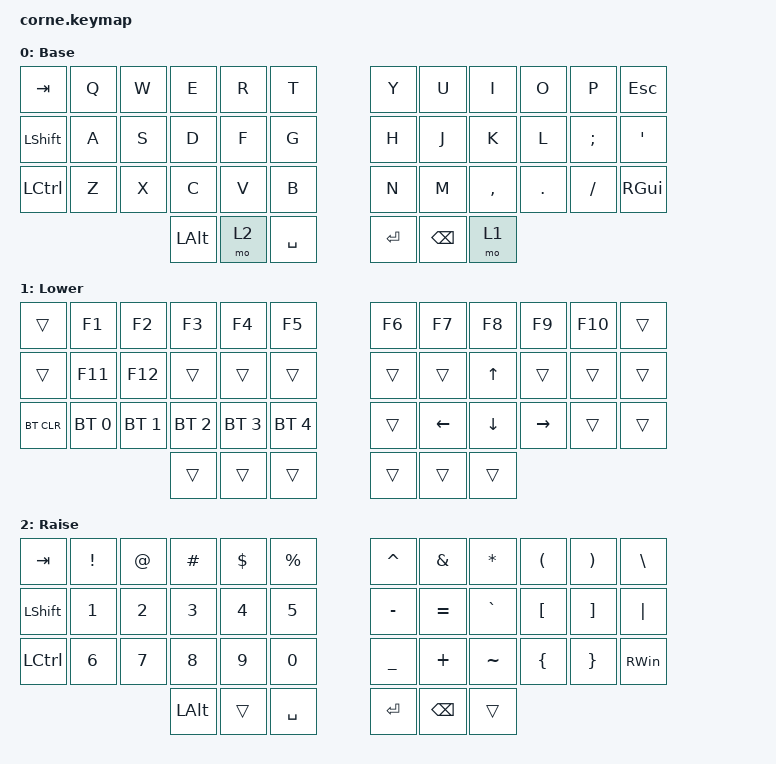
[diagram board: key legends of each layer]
/*
 * Copyright (c) 2020 The ZMK Contributors
 *
 * SPDX-License-Identifier: MIT
 */

#include <behaviors.dtsi>
#include <dt-bindings/zmk/bt.h>
#include <dt-bindings/zmk/keys.h>

/ {
    keymap {
        compatible = "zmk,keymap";

        default_layer {
            // -----------------------------------------------------------------------------------------
            // |  TAB |  Q  |  W  |  E  |  R  |  T  |   |  Y  |  U   |  I  |  O  |  P  | RGUI |
            // | SHFT |  A  |  S  |  D  |  F  |  G  |   |  H  |  J   |  K  |  L  |  ;  |  '   |
            // | CTRL |  Z  |  X  |  C  |  V  |  B  |   |  N  |  M   |  ,  |  .  |  /  | ESC  |
            //                    | ALT | LWR | SPC |   | BKSP | RSE  | ENT |

            display-name = "Base";
            bindings = <
&kp TAB    &kp Q  &kp W  &kp E     &kp R  &kp T        &kp Y      &kp U          &kp I      &kp O    &kp P     &kp ESC
&kp LSHFT  &kp A  &kp S  &kp D     &kp F  &kp G        &kp H      &kp J          &kp K      &kp L    &kp SEMI  &kp SQT
&kp LCTRL  &kp Z  &kp X  &kp C     &kp V  &kp B        &kp N      &kp M          &kp COMMA  &kp DOT  &kp FSLH  &kp RIGHT_GUI
                         &kp LALT  &mo 2  &kp SPACE    &kp ENTER  &kp BACKSPACE  &mo 1
            >;
        };

        lower_layer {
            // -----------------------------------------------------------------------------------------
            // |  TAB |  1  |  2  |  3  |  4  |  5  |   |  6  |  7  |  8  |  9  |  0  | BKSP |
            // | BTCLR| BT1 | BT2 | BT3 | BT4 | BT5 |   | LFT | DWN |  UP | RGT |     |      |
            // | SHFT |     |     |     |     |     |   |     |     |     |     |     |      |
            //                    | GUI |     | SPC |   | ENT |     | ALT |

            display-name = "Lower";
            bindings = <
&trans      &kp F1        &kp F2        &kp F3        &kp F4        &kp F5          &kp F6  &kp F7          &kp F8          &kp F9     &kp F10  &trans
&trans      &kp F11       &kp F12       &trans        &trans        &trans          &trans  &trans          &kp UP          &trans     &trans   &trans
&bt BT_CLR  &bt BT_SEL 0  &bt BT_SEL 1  &bt BT_SEL 2  &bt BT_SEL 3  &bt BT_SEL 4    &trans  &kp LEFT_ARROW  &kp DOWN_ARROW  &kp RIGHT  &trans   &trans
                                        &trans        &trans        &trans          &trans  &trans          &trans
            >;
        };

        raise_layer {
            // -----------------------------------------------------------------------------------------
            // |  TAB |  !  |  @  |  #  |  $  |  %  |   |  ^  |  &  |  *  |  (  |  )  | BKSP |
            // | CTRL |     |     |     |     |     |   |  -  |  =  |  [  |  ]  |  \  |  `   |
            // | SHFT |     |     |     |     |     |   |  _  |  +  |  {  |  }  | "|" |  ~   |
            //                    | GUI |     | SPC |   | ENT |     | ALT |

            display-name = "Raise";
            bindings = <
&kp TAB           &kp EXCL      &kp AT        &kp HASH      &kp DLLR      &kp PRCNT       &kp CARET  &kp AMPS       &kp ASTERISK  &kp LPAR          &kp RPAR           &kp BACKSLASH
&kp LEFT_SHIFT    &kp NUMBER_1  &kp NUMBER_2  &kp NUMBER_3  &kp NUMBER_4  &kp NUMBER_5    &kp MINUS  &kp EQUAL      &kp GRAVE     &kp LEFT_BRACKET  &kp RIGHT_BRACKET  &kp PIPE
&kp LEFT_CONTROL  &kp NUMBER_6  &kp NUMBER_7  &kp NUMBER_8  &kp NUMBER_9  &kp NUMBER_0    &kp UNDER  &kp PLUS       &kp TILDE     &kp LEFT_BRACE    &kp RIGHT_BRACE    &kp RWIN
                                              &kp LEFT_ALT  &trans        &kp SPACE       &kp RET    &kp BACKSPACE  &trans
            >;
        };
    };
};
